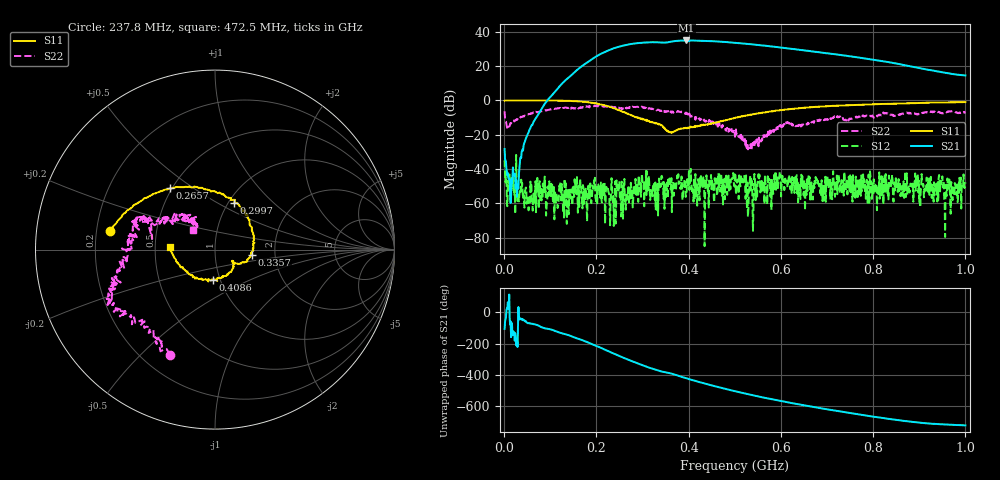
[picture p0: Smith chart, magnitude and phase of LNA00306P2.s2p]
! Created with skrf 1.9.0 (http://scikit-rf.org).
# Hz S RI R 50.0
!freq ReS11 ImS11 ReS21 ImS21 ReS12 ImS12 ReS22 ImS22
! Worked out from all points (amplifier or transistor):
!   1001 points, 1 MHz to 1 GHz, reference 50 ohm
!   highest |S21| = 35.0 dB at 394.6 MHz (marker M1)
!   |S21| within 3 dB of that: 257.9 MHz to 563 MHz (305.1 MHz wide, 74.3 % of centre)
!   unconditionally stable (mu >= 1): 4.228 MHz to 86.47 MHz; 309.8 MHz to 404.6 MHz; 404.6 MHz to end of sweep (the widest 3 of 23)
!   at 166.8 MHz: K = 0.82, MSG = 35.1 dB, |S12| = -50.5 dB
!   at 500.5 MHz: K = 1.44, MAG = 34.3 dB, |S12| = -42.9 dB
!   at 1 GHz: K = 3.77, MAG = 22.5 dB, |S12| = -47.8 dB
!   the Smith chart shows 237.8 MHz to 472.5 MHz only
!   S11 on the Smith chart (normalised r, x): 237.8 MHz: 0.26, +0.08; 265.7 MHz: 0.49, +0.41; 299.7 MHz: 1.07, +0.60; 335.7 MHz: 1.51, -0.09; 408.6 MHz: 0.92, -0.32; 472.5 MHz: 0.60, +0.02
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1000000  0.9804 -0.0087  -0.011 -0.037  -0.00423 0.0176  0.3943 0.2816
1.08892e8  0.5089 -0.8543  -0.8035 -1.514  -3.81e-05 -0.000339  0.4291 -0.3612
1.67833e8  -0.2579 -0.8897  -9.881 -0.5506  0.00133 0.00149  0.0606 -0.6204
2.07793e8  -0.6703 -0.3885  -15.77 15.6  0.00065 -0.00329  -0.1666 -0.6664
2.37763e8  -0.5836 0.1055  -3.597 33.26  0.000153 0.000156  -0.252 -0.586
2.65735e8  -0.2504 0.3413  20.1 36.54  0.00195 2.71e-05  -0.4633 -0.4163
2.99701e8  0.1075 0.2576  44.84 18.57  -0.00355 -0.00272  -0.5758 -0.2856
3.17683e8  0.2055 0.1236  49.68 3.198  -0.00054 0.00201  -0.5532 -0.1649
3.34666e8  0.2001 -0.022  48.4 -10.77  0.00199 -0.00072  -0.5314 -0.0731
3.35665e8  0.2037 -0.0301  48 -11.48  -0.000737 0.00521  -0.5158 -0.0736
3.68632e8  0.1015 -0.0743  43.4 -31.7  0.00148 0.002  -0.4443 0.1402
3.94606e8  0.0539 -0.1471  27.91 -48.94  -0.00173 0.00066  -0.4153 0.1554
4.08592e8  -0.0124 -0.1673  16.72 -53.59  0.00207 0.00167  -0.3115 0.1757
4.39561e8  -0.1541 -0.1272  -7.539 -54.07  0.00306 0.00216  -0.1751 0.1819
4.72528e8  -0.2502 0.0121  -27.56 -43.16  0.000252 -0.00163  -0.1251 0.1066
5.005e8  -0.2659 0.1643  -38.76 -28.92  0.00631 0.00336  -0.055 0.0678
5.39461e8  -0.1803 0.3523  -42.21 -8.14  3.77e-05 -0.000152  -0.047 -0.0334
5.85415e8  0.0197 0.4948  -35.24 11.08  0.00674 0.000144  -0.1052 -0.0925
6.67333e8  0.41 0.4883  -12.61 23.77  0.00119 -0.00163  -0.2206 -0.0706
7.53247e8  0.6791 0.2755  4.421 18.62  -0.00346 -0.00256  -0.2947 -0.0152
8.34166e8  0.7973 0.0179  9.907 8.576  -0.00326 0.00554  -0.4056 0.00452
1e9  0.7342 -0.5177  5.373 -0.0695  0.00344 -0.00216  -0.2966 0.3431
